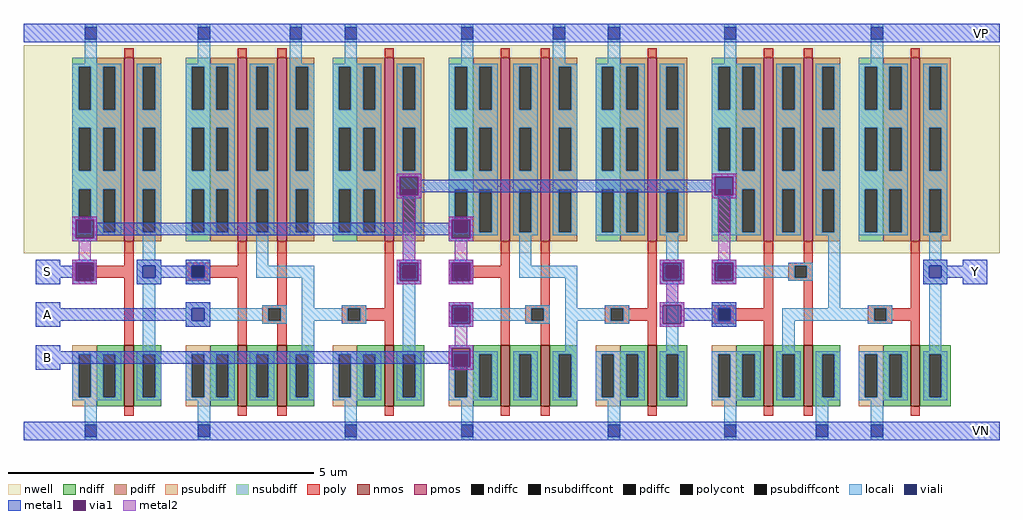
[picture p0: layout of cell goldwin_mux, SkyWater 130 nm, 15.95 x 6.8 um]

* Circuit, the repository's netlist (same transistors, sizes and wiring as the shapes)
* NGSPICE file created from goldwin_mux.ext - technology: sky130A

.subckt goldwin_and A B Y VP VN
X0 a_30_540# B a_30_0# VN sky130_fd_pr__nfet_01v8 ad=0.45 pd=2.9 as=0.25 ps=1.5 w=1 l=0.15
X1 a_30_0# A VN VN sky130_fd_pr__nfet_01v8 ad=0.25 pd=1.5 as=0.45 ps=2.9 w=1 l=0.15
X2 Y a_30_540# VN VN sky130_fd_pr__nfet_01v8 ad=0.5 pd=3 as=0.45 ps=2.9 w=1 l=0.15
X3 a_30_540# A VP VP sky130_fd_pr__pfet_01v8 ad=0.75 pd=3.5 as=1.35 ps=6.9 w=3 l=0.15
X4 Y a_30_540# VP VP sky130_fd_pr__pfet_01v8 ad=1.5 pd=7 as=1.35 ps=6.9 w=3 l=0.15
X5 VP B a_30_540# VP sky130_fd_pr__pfet_01v8 ad=1.35 pd=6.9 as=0.75 ps=3.5 w=3 l=0.15
.ends

.subckt goldwin_or A B Y VP VN
X0 VN A a_30_0# VN sky130_fd_pr__nfet_01v8 ad=0.45 pd=2.9 as=0.25 ps=1.5 w=1 l=0.15
X1 a_30_0# B VN VN sky130_fd_pr__nfet_01v8 ad=0.25 pd=1.5 as=0.45 ps=2.9 w=1 l=0.15
X2 Y a_30_0# VN VN sky130_fd_pr__nfet_01v8 ad=0.5 pd=3 as=0.45 ps=2.9 w=1 l=0.15
X3 a_30_540# B VP VP sky130_fd_pr__pfet_01v8 ad=0.75 pd=3.5 as=1.35 ps=6.9 w=3 l=0.15
X4 Y a_30_0# VP VP sky130_fd_pr__pfet_01v8 ad=1.5 pd=7 as=1.35 ps=6.9 w=3 l=0.15
X5 a_30_0# A a_30_540# VP sky130_fd_pr__pfet_01v8 ad=1.35 pd=6.9 as=0.75 ps=3.5 w=3 l=0.15
.ends

.subckt goldwin_not A Y VP VN
X0 Y A VN VN sky130_fd_pr__nfet_01v8 ad=0.45 pd=2.9 as=0.45 ps=2.9 w=1 l=0.15
X1 Y A VP VP sky130_fd_pr__pfet_01v8 ad=1.35 pd=6.9 as=1.35 ps=6.9 w=3 l=0.15
.ends

.subckt goldwin_mux A B S Y VP VN
Xgoldwin_and_1 goldwin_not_0/Y A goldwin_or_0/A VP VN goldwin_and
Xgoldwin_and_2 S B goldwin_or_0/B VP VN goldwin_and
Xgoldwin_or_0 goldwin_or_0/A goldwin_or_0/B Y VP VN goldwin_or
Xgoldwin_not_0 S goldwin_not_0/Y VP VN goldwin_not
.ends

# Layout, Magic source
magic
tech sky130A
<< nwell >>
rect -60 305 1535 645
<< metal1 >>
rect -60 650 1535 680
rect 550 430 590 435
rect 550 400 555 430
rect 585 425 590 430
rect 1065 430 1105 435
rect 1065 425 1070 430
rect 585 405 1070 425
rect 585 400 590 405
rect 550 395 590 400
rect 1065 400 1070 405
rect 1100 400 1105 430
rect 1065 395 1105 400
rect 20 360 60 365
rect 20 330 25 360
rect 55 355 60 360
rect 635 360 675 365
rect 635 355 640 360
rect 55 335 640 355
rect 55 330 60 335
rect 20 325 60 330
rect 635 330 640 335
rect 670 330 675 360
rect 635 325 675 330
rect -40 285 0 295
rect 550 290 590 295
rect -40 265 20 285
rect -40 255 0 265
rect 165 265 205 285
rect 550 260 555 290
rect 585 260 590 290
rect 550 255 590 260
rect 635 290 675 295
rect 635 260 640 290
rect 670 260 675 290
rect 635 255 675 260
rect 980 290 1020 295
rect 980 260 985 290
rect 1015 260 1020 290
rect 980 255 1020 260
rect 1065 290 1105 295
rect 1065 260 1070 290
rect 1100 260 1105 290
rect 1475 285 1515 295
rect 1450 265 1515 285
rect 1065 255 1105 260
rect 1475 255 1515 265
rect -40 215 0 225
rect 980 220 1020 225
rect -40 195 205 215
rect -40 185 0 195
rect 980 190 985 220
rect 1015 215 1020 220
rect 1015 195 1065 215
rect 1015 190 1020 195
rect 980 185 1020 190
rect -40 145 0 155
rect 635 150 675 155
rect 635 145 640 150
rect -40 125 640 145
rect -40 115 0 125
rect 635 120 640 125
rect 670 120 675 150
rect 635 115 675 120
rect -60 0 1535 30
<< via1 >>
rect 555 400 585 430
rect 1070 400 1100 430
rect 25 330 55 360
rect 640 330 670 360
rect 25 260 55 290
rect 555 260 585 290
rect 640 260 670 290
rect 985 260 1015 290
rect 1070 260 1100 290
rect 640 190 670 220
rect 985 190 1015 220
rect 640 120 670 150
<< metal2 >>
rect 550 430 590 435
rect 550 400 555 430
rect 585 400 590 430
rect 550 395 590 400
rect 1065 430 1105 435
rect 1065 400 1070 430
rect 1100 400 1105 430
rect 1065 395 1105 400
rect 20 360 60 365
rect 20 330 25 360
rect 55 330 60 360
rect 20 325 60 330
rect 30 295 50 325
rect 560 295 580 395
rect 635 360 675 365
rect 635 330 640 360
rect 670 330 675 360
rect 635 325 675 330
rect 645 295 665 325
rect 1075 295 1095 395
rect 20 290 60 295
rect 20 260 25 290
rect 55 260 60 290
rect 20 255 60 260
rect 550 290 590 295
rect 550 260 555 290
rect 585 260 590 290
rect 550 255 590 260
rect 635 290 675 295
rect 635 260 640 290
rect 670 260 675 290
rect 635 255 675 260
rect 980 290 1020 295
rect 980 260 985 290
rect 1015 260 1020 290
rect 980 255 1020 260
rect 1065 290 1105 295
rect 1065 260 1070 290
rect 1100 260 1105 290
rect 1065 255 1105 260
rect 990 225 1010 255
rect 635 220 675 225
rect 635 190 640 220
rect 670 190 675 220
rect 635 185 675 190
rect 980 220 1020 225
rect 980 190 985 220
rect 1015 190 1020 220
rect 980 185 1020 190
rect 645 155 665 185
rect 635 150 675 155
rect 635 120 640 150
rect 670 120 675 150
rect 635 115 675 120
use goldwin_and  goldwin_and_1 ../goldwin_and
transform 1 0 290 0 1 55
box -105 -55 325 625
use goldwin_and  goldwin_and_2
transform 1 0 720 0 1 55
box -105 -55 325 625
use goldwin_not  goldwin_not_0 ../goldwin_not
transform 1 0 105 0 1 55
box -105 -55 80 625
use goldwin_or  goldwin_or_0 ../goldwin_or
transform 1 0 1150 0 1 55
box -105 -55 325 625
<< labels >>
flabel metal1 -40 185 0 225 1 FreeSans 200 0 0 -120 A
port 1 n
flabel metal1 -40 115 0 155 1 FreeSans 200 0 0 -120 B
port 2 n
flabel metal1 1475 255 1515 295 1 FreeSans 200 0 0 -120 Y
port 4 n
flabel metal1 1495 0 1515 30 1 FreeSans 200 0 0 -120 VN
port 6 n
flabel metal1 1495 650 1515 680 1 FreeSans 200 0 0 -120 VP
port 5 n
flabel metal1 -40 255 0 295 1 FreeSans 200 0 0 -120 S
port 3 n
<< end >>

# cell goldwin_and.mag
magic
tech sky130A
<< nwell >>
rect -105 250 325 590
<< nmos >>
rect 0 0 15 100
rect 65 0 80 100
rect 240 0 255 100
<< pmos >>
rect 0 270 15 570
rect 65 270 80 570
rect 240 270 255 570
<< ndiff >>
rect -45 85 0 100
rect -45 15 -35 85
rect -15 15 0 85
rect -45 0 0 15
rect 15 85 65 100
rect 15 15 30 85
rect 50 15 65 85
rect 15 0 65 15
rect 80 85 125 100
rect 80 15 95 85
rect 115 15 125 85
rect 80 0 125 15
rect 195 85 240 100
rect 195 15 205 85
rect 225 15 240 85
rect 195 0 240 15
rect 255 85 305 100
rect 255 15 270 85
rect 290 15 305 85
rect 255 0 305 15
<< pdiff >>
rect -45 555 0 570
rect -45 485 -35 555
rect -15 485 0 555
rect -45 455 0 485
rect -45 385 -35 455
rect -15 385 0 455
rect -45 355 0 385
rect -45 285 -35 355
rect -15 285 0 355
rect -45 270 0 285
rect 15 555 65 570
rect 15 485 30 555
rect 50 485 65 555
rect 15 455 65 485
rect 15 385 30 455
rect 50 385 65 455
rect 15 355 65 385
rect 15 285 30 355
rect 50 285 65 355
rect 15 270 65 285
rect 80 555 125 570
rect 80 485 95 555
rect 115 485 125 555
rect 80 455 125 485
rect 80 385 95 455
rect 115 385 125 455
rect 80 355 125 385
rect 80 285 95 355
rect 115 285 125 355
rect 80 270 125 285
rect 195 555 240 570
rect 195 485 205 555
rect 225 485 240 555
rect 195 455 240 485
rect 195 385 205 455
rect 225 385 240 455
rect 195 355 240 385
rect 195 285 205 355
rect 225 285 240 355
rect 195 270 240 285
rect 255 555 305 570
rect 255 485 270 555
rect 290 485 305 555
rect 255 455 305 485
rect 255 385 270 455
rect 290 385 305 455
rect 255 355 305 385
rect 255 285 270 355
rect 290 285 305 355
rect 255 270 305 285
<< ndiffc >>
rect -35 15 -15 85
rect 30 15 50 85
rect 95 15 115 85
rect 205 15 225 85
rect 270 15 290 85
<< pdiffc >>
rect -35 485 -15 555
rect -35 385 -15 455
rect -35 285 -15 355
rect 30 485 50 555
rect 30 385 50 455
rect 30 285 50 355
rect 95 485 115 555
rect 95 385 115 455
rect 95 285 115 355
rect 205 485 225 555
rect 205 385 225 455
rect 205 285 225 355
rect 270 485 290 555
rect 270 385 290 455
rect 270 285 290 355
<< psubdiff >>
rect -85 85 -45 100
rect -85 15 -75 85
rect -55 15 -45 85
rect -85 0 -45 15
rect 155 85 195 100
rect 155 15 165 85
rect 185 15 195 85
rect 155 0 195 15
<< nsubdiff >>
rect -85 555 -45 570
rect -85 485 -75 555
rect -55 485 -45 555
rect -85 455 -45 485
rect -85 385 -75 455
rect -55 385 -45 455
rect -85 355 -45 385
rect -85 285 -75 355
rect -55 285 -45 355
rect -85 270 -45 285
rect 155 555 195 570
rect 155 485 165 555
rect 185 485 195 555
rect 155 455 195 485
rect 155 385 165 455
rect 185 385 195 455
rect 155 355 195 385
rect 155 285 165 355
rect 185 285 195 355
rect 155 270 195 285
<< psubdiffcont >>
rect -75 15 -55 85
rect 165 15 185 85
<< nsubdiffcont >>
rect -75 485 -55 555
rect -75 385 -55 455
rect -75 285 -55 355
rect 165 485 185 555
rect 165 385 185 455
rect 165 285 185 355
<< poly >>
rect 0 570 15 585
rect 65 570 80 585
rect 240 570 255 585
rect -85 230 -45 235
rect 0 230 15 270
rect -85 210 -75 230
rect -55 210 15 230
rect -85 205 -45 210
rect 0 100 15 210
rect 65 165 80 270
rect 40 160 80 165
rect 40 140 50 160
rect 70 140 80 160
rect 40 135 80 140
rect 170 160 210 165
rect 240 160 255 270
rect 170 140 180 160
rect 200 140 255 160
rect 170 135 210 140
rect 65 100 80 135
rect 240 100 255 140
rect 0 -15 15 0
rect 65 -15 80 0
rect 240 -15 255 0
<< polycont >>
rect -75 210 -55 230
rect 50 140 70 160
rect 180 140 200 160
<< locali >>
rect -65 620 -45 625
rect -65 560 -45 600
rect 85 620 105 625
rect 85 560 105 600
rect 175 620 195 625
rect 175 560 195 600
rect -85 555 -5 560
rect -85 485 -75 555
rect -55 485 -35 555
rect -15 485 -5 555
rect -85 455 -5 485
rect -85 385 -75 455
rect -55 385 -35 455
rect -15 385 -5 455
rect -85 355 -5 385
rect -85 285 -75 355
rect -55 285 -35 355
rect -15 285 -5 355
rect -85 280 -5 285
rect 20 555 60 560
rect 20 485 30 555
rect 50 485 60 555
rect 20 455 60 485
rect 20 385 30 455
rect 50 385 60 455
rect 20 355 60 385
rect 20 285 30 355
rect 50 285 60 355
rect 20 280 60 285
rect 85 555 125 560
rect 85 485 95 555
rect 115 485 125 555
rect 85 455 125 485
rect 85 385 95 455
rect 115 385 125 455
rect 85 355 125 385
rect 85 285 95 355
rect 115 285 125 355
rect 85 280 125 285
rect 155 555 235 560
rect 155 485 165 555
rect 185 485 205 555
rect 225 485 235 555
rect 155 455 235 485
rect 155 385 165 455
rect 185 385 205 455
rect 225 385 235 455
rect 155 355 235 385
rect 155 285 165 355
rect 185 285 205 355
rect 225 285 235 355
rect 155 280 235 285
rect 260 555 300 560
rect 260 485 270 555
rect 290 485 300 555
rect 260 455 300 485
rect 260 385 270 455
rect 290 385 300 455
rect 260 355 300 385
rect 260 285 270 355
rect 290 285 300 355
rect 260 280 300 285
rect -85 230 -45 240
rect -85 210 -75 230
rect -55 210 -45 230
rect 30 230 50 280
rect 270 240 290 280
rect 260 230 300 240
rect 30 210 125 230
rect -85 200 -45 210
rect -85 160 -45 170
rect 40 160 80 165
rect -85 140 -75 160
rect -55 140 50 160
rect 70 140 80 160
rect -85 130 -45 140
rect 40 135 80 140
rect 105 160 125 210
rect 260 210 270 230
rect 290 210 300 230
rect 260 200 300 210
rect 170 160 210 165
rect 105 140 180 160
rect 200 140 210 160
rect 105 90 125 140
rect 170 135 210 140
rect 270 90 290 200
rect -85 85 -5 90
rect -85 15 -75 85
rect -55 15 -35 85
rect -15 15 -5 85
rect -85 10 -5 15
rect 20 85 60 90
rect 20 15 30 85
rect 50 15 60 85
rect 20 10 60 15
rect 85 85 125 90
rect 85 15 95 85
rect 115 15 125 85
rect 85 10 125 15
rect 155 85 235 90
rect 155 15 165 85
rect 185 15 205 85
rect 225 15 235 85
rect 155 10 235 15
rect 260 85 300 90
rect 260 15 270 85
rect 290 15 300 85
rect 260 10 300 15
rect -65 -30 -45 10
rect -65 -55 -45 -50
rect 175 -30 195 10
rect 175 -55 195 -50
<< viali >>
rect -65 600 -45 620
rect 85 600 105 620
rect 175 600 195 620
rect -75 210 -55 230
rect -75 140 -55 160
rect 270 210 290 230
rect -65 -50 -45 -30
rect 175 -50 195 -30
<< metal1 >>
rect -105 620 325 625
rect -105 600 -65 620
rect -45 600 85 620
rect 105 600 175 620
rect 195 600 325 620
rect -105 595 325 600
rect -85 230 -45 240
rect -85 210 -75 230
rect -55 210 -45 230
rect -85 200 -45 210
rect 260 230 300 240
rect 260 210 270 230
rect 290 210 300 230
rect 260 200 300 210
rect -85 160 -45 170
rect -85 140 -75 160
rect -55 140 -45 160
rect -85 130 -45 140
rect -105 -30 325 -25
rect -105 -50 -65 -30
rect -45 -50 175 -30
rect 195 -50 325 -30
rect -105 -55 325 -50
<< labels >>
flabel metal1 305 -55 325 -25 1 FreeSans 200 0 0 -120 VN
port 5 n
flabel metal1 305 595 325 625 1 FreeSans 200 0 0 -120 VP
port 4 n
flabel metal1 265 200 295 240 1 FreeSans 200 0 0 -120 Y
port 3 n
flabel metal1 -85 200 -45 240 1 FreeSans 200 0 0 -120 A
port 1 n
flabel metal1 -85 130 -45 170 1 FreeSans 200 0 0 -120 B
port 2 n
<< end >>

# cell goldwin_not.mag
magic
tech sky130A
<< nwell >>
rect -105 250 80 590
<< nmos >>
rect 0 0 15 100
<< pmos >>
rect 0 270 15 570
<< ndiff >>
rect -45 85 0 100
rect -45 15 -35 85
rect -15 15 0 85
rect -45 0 0 15
rect 15 85 60 100
rect 15 15 30 85
rect 50 15 60 85
rect 15 0 60 15
<< pdiff >>
rect -45 555 0 570
rect -45 485 -35 555
rect -15 485 0 555
rect -45 455 0 485
rect -45 385 -35 455
rect -15 385 0 455
rect -45 355 0 385
rect -45 285 -35 355
rect -15 285 0 355
rect -45 270 0 285
rect 15 555 60 570
rect 15 485 30 555
rect 50 485 60 555
rect 15 455 60 485
rect 15 385 30 455
rect 50 385 60 455
rect 15 355 60 385
rect 15 285 30 355
rect 50 285 60 355
rect 15 270 60 285
<< ndiffc >>
rect -35 15 -15 85
rect 30 15 50 85
<< pdiffc >>
rect -35 485 -15 555
rect -35 385 -15 455
rect -35 285 -15 355
rect 30 485 50 555
rect 30 385 50 455
rect 30 285 50 355
<< psubdiff >>
rect -85 85 -45 100
rect -85 15 -75 85
rect -55 15 -45 85
rect -85 0 -45 15
<< nsubdiff >>
rect -85 555 -45 570
rect -85 485 -75 555
rect -55 485 -45 555
rect -85 455 -45 485
rect -85 385 -75 455
rect -55 385 -45 455
rect -85 355 -45 385
rect -85 285 -75 355
rect -55 285 -45 355
rect -85 270 -45 285
<< psubdiffcont >>
rect -75 15 -55 85
<< nsubdiffcont >>
rect -75 485 -55 555
rect -75 385 -55 455
rect -75 285 -55 355
<< poly >>
rect 0 570 15 585
rect -85 230 -45 235
rect 0 230 15 270
rect -85 210 -75 230
rect -55 210 15 230
rect -85 205 -45 210
rect 0 100 15 210
rect 0 -15 15 0
<< polycont >>
rect -75 210 -55 230
<< locali >>
rect -65 620 -45 625
rect -65 560 -45 600
rect -85 555 -5 560
rect -85 485 -75 555
rect -55 485 -35 555
rect -15 485 -5 555
rect -85 455 -5 485
rect -85 385 -75 455
rect -55 385 -35 455
rect -15 385 -5 455
rect -85 355 -5 385
rect -85 285 -75 355
rect -55 285 -35 355
rect -15 285 -5 355
rect -85 280 -5 285
rect 20 555 60 560
rect 20 485 30 555
rect 50 485 60 555
rect 20 455 60 485
rect 20 385 30 455
rect 50 385 60 455
rect 20 355 60 385
rect 20 285 30 355
rect 50 285 60 355
rect 20 280 60 285
rect 30 240 50 280
rect -85 230 -45 240
rect -85 210 -75 230
rect -55 210 -45 230
rect -85 200 -45 210
rect 20 230 60 240
rect 20 210 30 230
rect 50 210 60 230
rect 20 200 60 210
rect 30 90 50 200
rect -85 85 -5 90
rect -85 15 -75 85
rect -55 15 -35 85
rect -15 15 -5 85
rect -85 10 -5 15
rect 20 85 60 90
rect 20 15 30 85
rect 50 15 60 85
rect 20 10 60 15
rect -65 -30 -45 10
rect -65 -55 -45 -50
<< viali >>
rect -65 600 -45 620
rect -75 210 -55 230
rect 30 210 50 230
rect -65 -50 -45 -30
<< metal1 >>
rect -105 620 80 625
rect -105 600 -65 620
rect -45 600 80 620
rect -105 595 80 600
rect -85 230 -45 240
rect -85 210 -75 230
rect -55 210 -45 230
rect -85 200 -45 210
rect 20 230 60 240
rect 20 210 30 230
rect 50 210 60 230
rect 20 200 60 210
rect -105 -30 80 -25
rect -105 -50 -65 -30
rect -45 -50 80 -30
rect -105 -55 80 -50
<< labels >>
flabel metal1 60 -55 80 -25 1 FreeSans 200 0 0 -120 VN
port 4 n
flabel metal1 60 595 80 625 1 FreeSans 200 0 0 -120 VP
port 3 n
flabel metal1 -85 200 -45 240 1 FreeSans 200 0 0 -120 A
port 1 n
flabel metal1 20 200 60 240 1 FreeSans 200 0 0 -120 Y
port 2 n
<< end >>

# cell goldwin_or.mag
magic
tech sky130A
<< nwell >>
rect -105 250 325 590
<< nmos >>
rect 0 0 15 100
rect 65 0 80 100
rect 240 0 255 100
<< pmos >>
rect 0 270 15 570
rect 65 270 80 570
rect 240 270 255 570
<< ndiff >>
rect -45 85 0 100
rect -45 15 -35 85
rect -15 15 0 85
rect -45 0 0 15
rect 15 85 65 100
rect 15 15 30 85
rect 50 15 65 85
rect 15 0 65 15
rect 80 85 125 100
rect 80 15 95 85
rect 115 15 125 85
rect 80 0 125 15
rect 195 85 240 100
rect 195 15 205 85
rect 225 15 240 85
rect 195 0 240 15
rect 255 85 305 100
rect 255 15 270 85
rect 290 15 305 85
rect 255 0 305 15
<< pdiff >>
rect -45 555 0 570
rect -45 485 -35 555
rect -15 485 0 555
rect -45 455 0 485
rect -45 385 -35 455
rect -15 385 0 455
rect -45 355 0 385
rect -45 285 -35 355
rect -15 285 0 355
rect -45 270 0 285
rect 15 555 65 570
rect 15 485 30 555
rect 50 485 65 555
rect 15 455 65 485
rect 15 385 30 455
rect 50 385 65 455
rect 15 355 65 385
rect 15 285 30 355
rect 50 285 65 355
rect 15 270 65 285
rect 80 555 125 570
rect 80 485 95 555
rect 115 485 125 555
rect 80 455 125 485
rect 80 385 95 455
rect 115 385 125 455
rect 80 355 125 385
rect 80 285 95 355
rect 115 285 125 355
rect 80 270 125 285
rect 195 555 240 570
rect 195 485 205 555
rect 225 485 240 555
rect 195 455 240 485
rect 195 385 205 455
rect 225 385 240 455
rect 195 355 240 385
rect 195 285 205 355
rect 225 285 240 355
rect 195 270 240 285
rect 255 555 305 570
rect 255 485 270 555
rect 290 485 305 555
rect 255 455 305 485
rect 255 385 270 455
rect 290 385 305 455
rect 255 355 305 385
rect 255 285 270 355
rect 290 285 305 355
rect 255 270 305 285
<< ndiffc >>
rect -35 15 -15 85
rect 30 15 50 85
rect 95 15 115 85
rect 205 15 225 85
rect 270 15 290 85
<< pdiffc >>
rect -35 485 -15 555
rect -35 385 -15 455
rect -35 285 -15 355
rect 30 485 50 555
rect 30 385 50 455
rect 30 285 50 355
rect 95 485 115 555
rect 95 385 115 455
rect 95 285 115 355
rect 205 485 225 555
rect 205 385 225 455
rect 205 285 225 355
rect 270 485 290 555
rect 270 385 290 455
rect 270 285 290 355
<< psubdiff >>
rect -85 85 -45 100
rect -85 15 -75 85
rect -55 15 -45 85
rect -85 0 -45 15
rect 155 85 195 100
rect 155 15 165 85
rect 185 15 195 85
rect 155 0 195 15
<< nsubdiff >>
rect -85 555 -45 570
rect -85 485 -75 555
rect -55 485 -45 555
rect -85 455 -45 485
rect -85 385 -75 455
rect -55 385 -45 455
rect -85 355 -45 385
rect -85 285 -75 355
rect -55 285 -45 355
rect -85 270 -45 285
rect 155 555 195 570
rect 155 485 165 555
rect 185 485 195 555
rect 155 455 195 485
rect 155 385 165 455
rect 185 385 195 455
rect 155 355 195 385
rect 155 285 165 355
rect 185 285 195 355
rect 155 270 195 285
<< psubdiffcont >>
rect -75 15 -55 85
rect 165 15 185 85
<< nsubdiffcont >>
rect -75 485 -55 555
rect -75 385 -55 455
rect -75 285 -55 355
rect 165 485 185 555
rect 165 385 185 455
rect 165 285 185 355
<< poly >>
rect 0 570 15 585
rect 65 570 80 585
rect 240 570 255 585
rect -85 160 -45 165
rect 0 160 15 270
rect 65 235 80 270
rect 40 230 80 235
rect 40 210 50 230
rect 70 210 80 230
rect 40 205 80 210
rect -85 140 -75 160
rect -55 140 15 160
rect -85 135 -45 140
rect 0 100 15 140
rect 65 100 80 205
rect 170 160 210 165
rect 240 160 255 270
rect 170 140 180 160
rect 200 140 255 160
rect 170 135 210 140
rect 240 100 255 140
rect 0 -15 15 0
rect 65 -15 80 0
rect 240 -15 255 0
<< polycont >>
rect 50 210 70 230
rect -75 140 -55 160
rect 180 140 200 160
<< locali >>
rect -65 620 -45 625
rect -65 560 -45 600
rect 175 620 195 625
rect 175 560 195 600
rect -85 555 -5 560
rect -85 485 -75 555
rect -55 485 -35 555
rect -15 485 -5 555
rect -85 455 -5 485
rect -85 385 -75 455
rect -55 385 -35 455
rect -15 385 -5 455
rect -85 355 -5 385
rect -85 285 -75 355
rect -55 285 -35 355
rect -15 285 -5 355
rect -85 280 -5 285
rect 20 555 60 560
rect 20 485 30 555
rect 50 485 60 555
rect 20 455 60 485
rect 20 385 30 455
rect 50 385 60 455
rect 20 355 60 385
rect 20 285 30 355
rect 50 285 60 355
rect 20 280 60 285
rect 85 555 125 560
rect 85 485 95 555
rect 115 485 125 555
rect 85 455 125 485
rect 85 385 95 455
rect 115 385 125 455
rect 85 355 125 385
rect 85 285 95 355
rect 115 285 125 355
rect 85 280 125 285
rect 155 555 235 560
rect 155 485 165 555
rect 185 485 205 555
rect 225 485 235 555
rect 155 455 235 485
rect 155 385 165 455
rect 185 385 205 455
rect 225 385 235 455
rect 155 355 235 385
rect 155 285 165 355
rect 185 285 205 355
rect 225 285 235 355
rect 155 280 235 285
rect 260 555 300 560
rect 260 485 270 555
rect 290 485 300 555
rect 260 455 300 485
rect 260 385 270 455
rect 290 385 300 455
rect 260 355 300 385
rect 260 285 270 355
rect 290 285 300 355
rect 260 280 300 285
rect -85 230 -45 240
rect 40 230 80 235
rect -85 210 -75 230
rect -55 210 50 230
rect 70 210 80 230
rect -85 200 -45 210
rect 40 205 80 210
rect -85 160 -45 170
rect 105 160 125 280
rect 270 240 290 280
rect 260 230 300 240
rect 260 210 270 230
rect 290 210 300 230
rect 260 200 300 210
rect 170 160 210 165
rect -85 140 -75 160
rect -55 140 -45 160
rect -85 130 -45 140
rect 30 140 180 160
rect 200 140 210 160
rect 30 90 50 140
rect 170 135 210 140
rect 270 90 290 200
rect -85 85 -5 90
rect -85 15 -75 85
rect -55 15 -35 85
rect -15 15 -5 85
rect -85 10 -5 15
rect 20 85 60 90
rect 20 15 30 85
rect 50 15 60 85
rect 20 10 60 15
rect 85 85 125 90
rect 85 15 95 85
rect 115 15 125 85
rect 85 10 125 15
rect 155 85 235 90
rect 155 15 165 85
rect 185 15 205 85
rect 225 15 235 85
rect 155 10 235 15
rect 260 85 300 90
rect 260 15 270 85
rect 290 15 300 85
rect 260 10 300 15
rect -65 -30 -45 10
rect -65 -55 -45 -50
rect 85 -30 105 10
rect 85 -55 105 -50
rect 175 -30 195 10
rect 175 -55 195 -50
<< viali >>
rect -65 600 -45 620
rect 175 600 195 620
rect -75 210 -55 230
rect 270 210 290 230
rect -75 140 -55 160
rect -65 -50 -45 -30
rect 85 -50 105 -30
rect 175 -50 195 -30
<< metal1 >>
rect -105 620 325 625
rect -105 600 -65 620
rect -45 600 175 620
rect 195 600 325 620
rect -105 595 325 600
rect -85 230 -45 240
rect -85 210 -75 230
rect -55 210 -45 230
rect -85 200 -45 210
rect 260 230 300 240
rect 260 210 270 230
rect 290 210 300 230
rect 260 200 300 210
rect -85 160 -45 170
rect -85 140 -75 160
rect -55 140 -45 160
rect -85 130 -45 140
rect -105 -30 325 -25
rect -105 -50 -65 -30
rect -45 -50 85 -30
rect 105 -50 175 -30
rect 195 -50 325 -30
rect -105 -55 325 -50
<< labels >>
flabel metal1 305 -55 325 -25 1 FreeSans 200 0 0 -120 VN
port 5 n
flabel metal1 305 595 325 625 1 FreeSans 200 0 0 -120 VP
port 4 n
flabel metal1 -85 200 -45 240 5 FreeSans 200 0 0 120 A
port 1 n
flabel metal1 -85 130 -45 170 5 FreeSans 200 0 0 120 B
port 2 n
flabel metal1 265 200 295 240 5 FreeSans 200 0 0 120 Y
port 3 n
<< end >>
